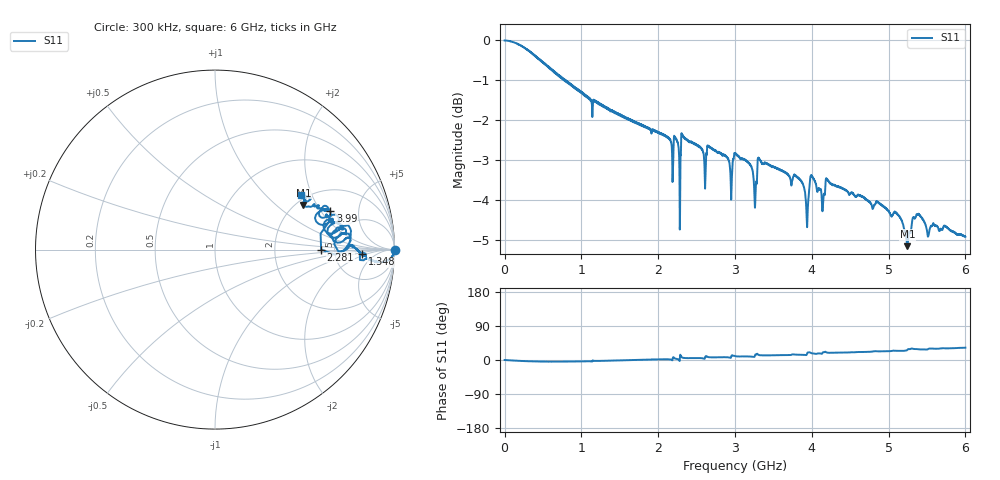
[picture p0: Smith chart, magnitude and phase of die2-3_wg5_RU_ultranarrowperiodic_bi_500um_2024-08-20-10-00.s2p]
!Keysight Technologies,P9374A,MY57304198,A.17.20.09
!Date: Tuesday, August 20, 2024 10:00:19
!Correction: S11(C  1-Port  )
!S21(C  1-Port  )
!S12(Off)
!S22(Off)
!S2P File: Measurements: S11, S21, S12, S22:
# Hz S  dB  R 50
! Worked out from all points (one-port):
!   6000 points, 300 kHz to 6 GHz, reference 50 ohm
!   lowest |S11| = -5.2 dB at 5.244 GHz (marker M1), VSWR 3.46, Z = 109 + j77.9 ohm
!   |S11| at or under -10 dB: nowhere
!   S11 on the Smith chart (normalised r, x): 300 kHz: open; 1.348 GHz: 10, -2; 2.281 GHz: 3.89, +0.00; 3.99 GHz: 3.12, +2.46; 6 GHz: 1.86, +1.67
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300000  0.00 -0.0  -200.00 45.0  -200.00 45.0  -200.00 45.0
4.123481e8  -0.40 -3.8  -200.00 45.0  -200.00 45.0  -200.00 45.0
1.000417e9  -1.30 -3.6  -200.00 45.0  -200.00 45.0  -200.00 45.0
1.348457e9  -1.72 -1.8  -200.00 45.0  -200.00 45.0  -200.00 45.0
2.000533e9  -2.30 1.7  -200.00 45.0  -200.00 45.0  -200.00 45.0
2.218559e9  -2.42 3.9  -200.00 45.0  -200.00 45.0  -200.00 45.0
2.251563e9  -2.55 2.4  -200.00 45.0  -200.00 45.0  -200.00 45.0
2.280566e9  -4.56 0.0  -200.00 45.0  -200.00 45.0  -200.00 45.0
2.330572e9  -2.41 5.5  -200.00 45.0  -200.00 45.0  -200.00 45.0
2.579601e9  -2.76 4.6  -200.00 45.0  -200.00 45.0  -200.00 45.0
2.641608e9  -2.64 8.3  -200.00 45.0  -200.00 45.0  -200.00 45.0
2.919641e9  -3.02 6.8  -200.00 45.0  -200.00 45.0  -200.00 45.0
3.00065e9  -2.83 10.1  -200.00 45.0  -200.00 45.0  -200.00 45.0
3.261681e9  -4.17 12.6  -200.00 45.0  -200.00 45.0  -200.00 45.0
3.327688e9  -3.00 12.4  -200.00 45.0  -200.00 45.0  -200.00 45.0
3.907756e9  -3.77 13.4  -200.00 45.0  -200.00 45.0  -200.00 45.0
3.989765e9  -3.39 18.4  -200.00 45.0  -200.00 45.0  -200.00 45.0
4.000767e9  -3.41 17.6  -200.00 45.0  -200.00 45.0  -200.00 45.0
5.000883e9  -4.28 23.2  -200.00 45.0  -200.00 45.0  -200.00 45.0
5.243912e9  -5.16 26.8  -200.00 45.0  -200.00 45.0  -200.00 45.0
5.323921e9  -4.45 29.3  -200.00 45.0  -200.00 45.0  -200.00 45.0
6e9  -4.93 32.5  -200.00 45.0  -200.00 45.0  -200.00 45.0
